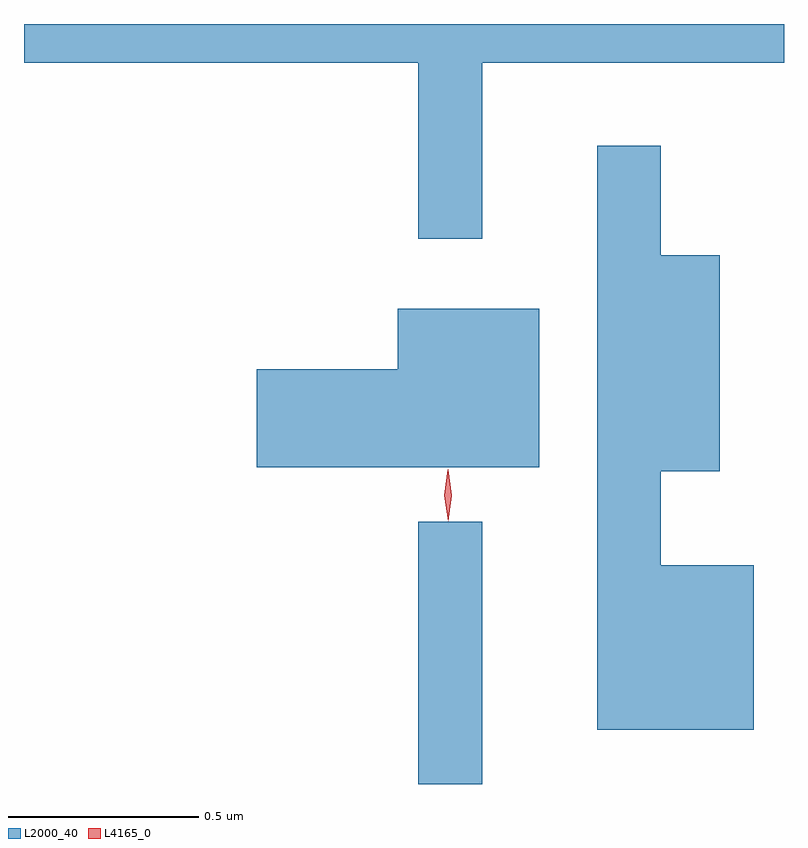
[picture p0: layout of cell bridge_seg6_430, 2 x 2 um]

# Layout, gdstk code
import gdstk
lib = gdstk.Library(unit=1e-6, precision=1e-09)
def R(c, l, rs):  # rectangles x0, y0, x1, y1
    for r in rs: c.add(gdstk.rectangle(r[:2], r[2:], *l))
def P(c, l, *ps):  # polygons
    for p in ps: c.add(gdstk.Polygon(p, *l))
L2000_40 = (2000, 40)
L4165_0 = (4165, 0)

bridge_seg6_430 = lib.new_cell('bridge_seg6_430')
R(bridge_seg6_430, L2000_40, [(882.461,1656.918,882.629,1657.608)])
P(bridge_seg6_430, L2000_40, [(882.629,1658.816),(883.423,1658.816),(883.423,1658.918),(881.423,1658.918),(881.423,1658.816),(882.461,1658.816),(882.461,1658.353),(882.629,1658.353)],
  [(883.344,1657.494),(883.099,1657.494),(883.099,1657.741),(883.254,1657.741),(883.254,1658.309),(883.099,1658.309),(883.099,1658.598),(882.931,1658.598),(882.931,1657.061),(883.344,1657.061)],
  [(882.779,1658.169),(882.406,1658.169),(882.406,1658.009),(882.036,1658.009),(882.036,1657.751),(882.779,1657.751)])
P(bridge_seg6_430, L4165_0, [(882.539,1657.61),(882.529,1657.678),(882.538,1657.745),(882.539,1657.746),(882.539,1657.745),(882.549,1657.678),(882.54,1657.61),(882.54,1657.61)],
  [(882.539,1657.613),(882.529,1657.676),(882.539,1657.74),(882.539,1657.74),(882.54,1657.74),(882.549,1657.676),(882.54,1657.613),(882.54,1657.613)])

lib.write_gds('bridge_seg6_430.gds')
